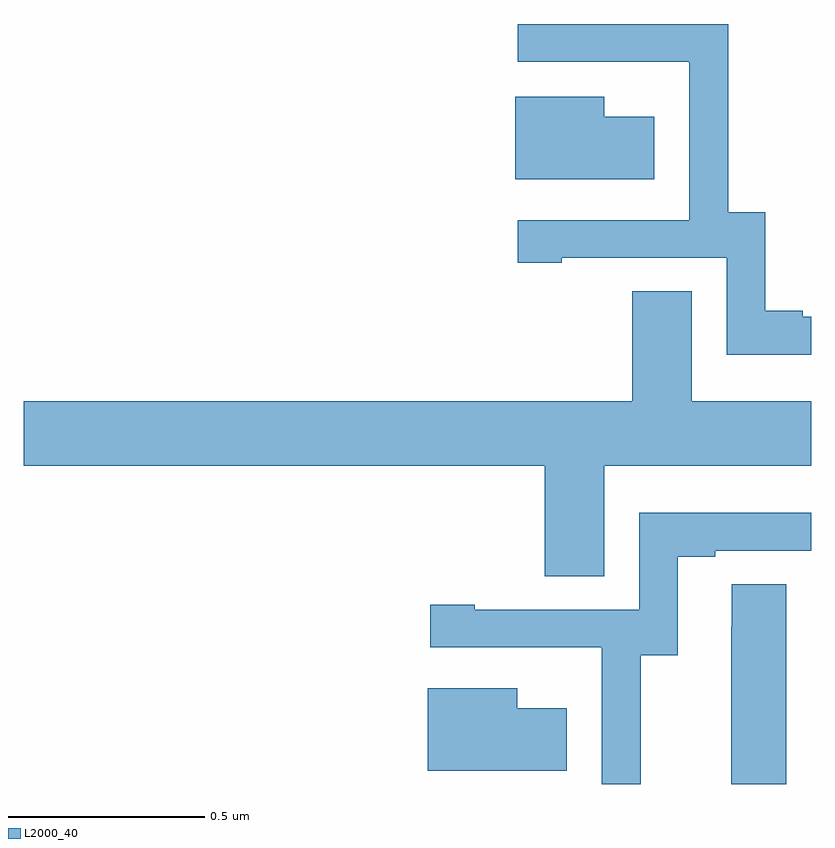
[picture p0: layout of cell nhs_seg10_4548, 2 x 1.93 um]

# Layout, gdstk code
import gdstk
lib = gdstk.Library(unit=1e-6, precision=1e-09)
def P(c, l, *ps):  # polygons
    for p in ps: c.add(gdstk.Polygon(p, *l))
L2000_40 = (2000, 40)

nhs_seg10_4548 = lib.new_cell('nhs_seg10_4548')
P(nhs_seg10_4548, L2000_40, [(169,1308.687),(168.979,1308.687),(168.979,1308.702),(168.883,1308.702),(168.883,1308.953),(168.789,1308.953),(168.789,1309.431),(168.255,1309.431),(168.255,1309.335),(168.689,1309.335),(168.689,1309.334),(168.69,1309.334),(168.69,1308.933),(168.255,1308.933),(168.255,1308.825),(168.367,1308.825),(168.367,1308.837),(168.786,1308.837),(168.786,1308.591),(169,1308.591)],
  [(168.601,1309.195),(168.475,1309.195),(168.475,1309.246),(168.248,1309.246),(168.248,1309.037),(168.601,1309.037)],
  [(168.475,1308.308),(169,1308.308),(169,1308.472),(168.697,1308.472),(168.697,1308.752),(168.545,1308.752),(168.545,1308.472),(167,1308.472),(167,1308.308),(168.323,1308.308),(168.323,1308.028),(168.475,1308.028)],
  [(168.567,1307.827),(168.661,1307.827),(168.661,1308.078),(168.757,1308.078),(168.757,1308.093),(169,1308.093),(169,1308.189),(168.564,1308.189),(168.564,1307.943),(168.145,1307.943),(168.145,1307.956),(168.033,1307.956),(168.033,1307.847),(168.467,1307.847),(168.467,1307.846),(168.468,1307.846),(168.468,1307.5),(168.567,1307.5)],
  [(168.937,1308.008),(168.798,1308.008),(168.798,1307.9),(168.797,1307.9),(168.797,1307.5),(168.937,1307.5)],
  [(168.379,1307.692),(168.253,1307.692),(168.253,1307.743),(168.026,1307.743),(168.026,1307.534),(168.379,1307.534)])

lib.write_gds('nhs_seg10_4548.gds')
